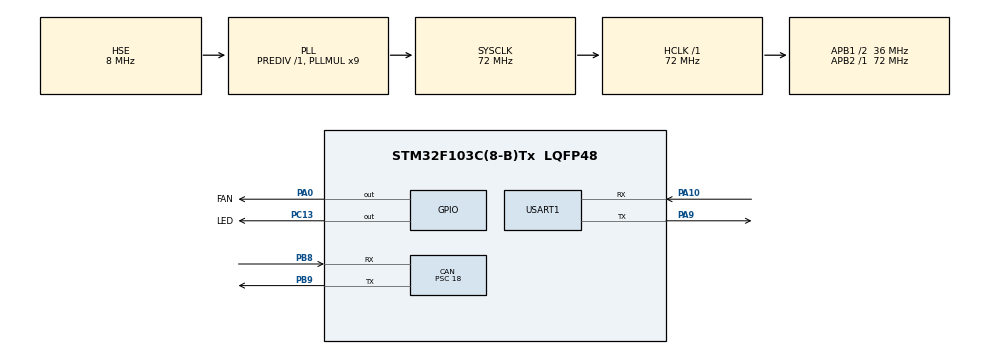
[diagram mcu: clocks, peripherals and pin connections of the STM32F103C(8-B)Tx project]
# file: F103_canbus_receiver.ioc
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CAN.BS1=CAN_BS1_2TQ
CAN.CalculateBaudRate=500000
CAN.CalculateTimeBit=2000
CAN.CalculateTimeQuantum=500.0
CAN.Prescaler=18
Mcu.Family=STM32F1
Mcu.Name=STM32F103C(8-B)Tx
Mcu.Package=LQFP48
NVIC.PriorityGroup=NVIC_PRIORITYGROUP_4
NVIC.USB_LP_CAN1_RX0_IRQn=true\:0\:0\:false\:false\:true\:true\:true\:true
PA0-WKUP.GPIO_Label=FAN
PA0-WKUP.Signal=GPIO_Output
PA10.Mode=Asynchronous
PA10.Signal=USART1_RX
PA13.Mode=Serial_Wire
PA13.Signal=SYS_JTMS-SWDIO
PA14.Mode=Serial_Wire
PA14.Signal=SYS_JTCK-SWCLK
PA9.Mode=Asynchronous
PA9.Signal=USART1_TX
PB8.Mode=CAN_Activate
PB8.Signal=CAN_RX
PB9.Mode=CAN_Activate
PB9.Signal=CAN_TX
PC13-TAMPER-RTC.GPIO_Label=LED
PC13-TAMPER-RTC.Signal=GPIO_Output
PD0-OSC_IN.Mode=HSE-External-Oscillator
PD0-OSC_IN.Signal=RCC_OSC_IN
PD1-OSC_OUT.Mode=HSE-External-Oscillator
PD1-OSC_OUT.Signal=RCC_OSC_OUT
ProjectManager.HeapSize=0x200
ProjectManager.StackSize=0x400
ProjectManager.TargetToolchain=STM32CubeIDE
RCC.AHBFreq_Value=72000000
RCC.APB1CLKDivider=RCC_HCLK_DIV2
RCC.APB1Freq_Value=36000000
RCC.APB1TimFreq_Value=72000000
RCC.APB2Freq_Value=72000000
RCC.APB2TimFreq_Value=72000000
RCC.HCLKFreq_Value=72000000
RCC.PLLMUL=RCC_PLL_MUL9
RCC.PLLSourceVirtual=RCC_PLLSOURCE_HSE
RCC.SYSCLKFreq_VALUE=72000000
RCC.SYSCLKSource=RCC_SYSCLKSOURCE_PLLCLK
RCC.USBFreq_Value=72000000
USART1.VirtualMode=VM_ASYNC
board=custom

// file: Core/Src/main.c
/* USER CODE BEGIN Header */
/**
  ******************************************************************************
  * @file           : main.c
  * @brief          : Main program body
  ******************************************************************************
  * @attention
  *
  * Copyright (c) 2024 STMicroelectronics.
  * All rights reserved.
  *
  * This software is licensed under terms that can be found in the LICENSE file
  * in the root directory of this software component.
  * If no LICENSE file comes with this software, it is provided AS-IS.
  *
  ******************************************************************************
  */
/* USER CODE END Header */
#include "main.h"

CAN_HandleTypeDef hcan;

UART_HandleTypeDef huart1;

void SystemClock_Config(void);
static void MX_GPIO_Init(void);
static void MX_CAN_Init(void);
static void MX_USART1_UART_Init(void);

/* USER CODE BEGIN 0 */
CAN_RxHeaderTypeDef reciver_struct;
uint8_t Received_Data[8];
uint32_t Trasmitter_info[5];

void HAL_CAN_RxFifo0MsgPendingCallback(CAN_HandleTypeDef *hcan){
	HAL_CAN_GetRxMessage(hcan, CAN_RX_FIFO0, &reciver_struct, Received_Data);
}
/* USER CODE END 0 */

int main(void)
{

  /* MCU Configuration--------------------------------------------------------*/

  /* Reset of all peripherals, Initializes the Flash interface and the Systick. */
  HAL_Init();

  /* Configure the system clock */
  SystemClock_Config();

  /* Initialize all configured peripherals */
  MX_GPIO_Init();
  MX_CAN_Init();
  MX_USART1_UART_Init();
  /* USER CODE BEGIN 2 */
  HAL_CAN_Start(&hcan);
  HAL_UART_Transmit(&huart1, "UART STARTED \r\n", 12, 1000);
  HAL_CAN_ActivateNotification(&hcan, CAN_IT_RX_FIFO0_MSG_PENDING);
  /* USER CODE END 2 */

  /* Infinite loop */
  /* USER CODE BEGIN WHILE */
  while (1)
  {
	  if(Received_Data[2] == 0){
	  	HAL_UART_Transmit(&huart1, "RESET\r\n",strlen("RESET\r\n"), 1000);
	  	HAL_GPIO_WritePin(LED_GPIO_Port,LED_Pin, 0);
	  	HAL_GPIO_WritePin(FAN_GPIO_Port,FAN_Pin, 0);
	  	}
	  else if(Received_Data[2] == 1){
	  	HAL_UART_Transmit(&huart1, "SET\r\n",strlen("SET\r\n"), 1000);
	  	HAL_GPIO_WritePin(LED_GPIO_Port,LED_Pin, 1);
	  	HAL_GPIO_WritePin(FAN_GPIO_Port,FAN_Pin, 1);
	  	}
	  else {
	  	HAL_UART_Transmit(&huart1, "ERROR \r\n", 5, 1000);
	  	}
	  Trasmitter_info[0] = reciver_struct.StdId;
	  Trasmitter_info[1] = reciver_struct.ExtId;
	  Trasmitter_info[2] = reciver_struct.IDE;
	  Trasmitter_info[3] = reciver_struct.RTR;
	  Trasmitter_info[4] = reciver_struct.DLC;

	  HAL_Delay(100);
    /* USER CODE END WHILE */

  }
}

void SystemClock_Config(void)
{
  RCC_OscInitTypeDef RCC_OscInitStruct = {0};
  RCC_ClkInitTypeDef RCC_ClkInitStruct = {0};

  /** Initializes the RCC Oscillators according to the specified parameters
  * in the RCC_OscInitTypeDef structure.
  */
  RCC_OscInitStruct.OscillatorType = RCC_OSCILLATORTYPE_HSE;
  RCC_OscInitStruct.HSEState = RCC_HSE_ON;
  RCC_OscInitStruct.HSEPredivValue = RCC_HSE_PREDIV_DIV1;
  RCC_OscInitStruct.HSIState = RCC_HSI_ON;
  RCC_OscInitStruct.PLL.PLLState = RCC_PLL_ON;
  RCC_OscInitStruct.PLL.PLLSource = RCC_PLLSOURCE_HSE;
  RCC_OscInitStruct.PLL.PLLMUL = RCC_PLL_MUL9;
  if (HAL_RCC_OscConfig(&RCC_OscInitStruct) != HAL_OK)
  {
    Error_Handler();
  }

  /** Initializes the CPU, AHB and APB buses clocks
  */
  RCC_ClkInitStruct.ClockType = RCC_CLOCKTYPE_HCLK|RCC_CLOCKTYPE_SYSCLK
                              |RCC_CLOCKTYPE_PCLK1|RCC_CLOCKTYPE_PCLK2;
  RCC_ClkInitStruct.SYSCLKSource = RCC_SYSCLKSOURCE_PLLCLK;
  RCC_ClkInitStruct.AHBCLKDivider = RCC_SYSCLK_DIV1;
  RCC_ClkInitStruct.APB1CLKDivider = RCC_HCLK_DIV2;
  RCC_ClkInitStruct.APB2CLKDivider = RCC_HCLK_DIV1;

  if (HAL_RCC_ClockConfig(&RCC_ClkInitStruct, FLASH_LATENCY_2) != HAL_OK)
  {
    Error_Handler();
  }
}

static void MX_CAN_Init(void)
{

  hcan.Instance = CAN1;
  hcan.Init.Prescaler = 18;
  hcan.Init.Mode = CAN_MODE_NORMAL;
  hcan.Init.SyncJumpWidth = CAN_SJW_1TQ;
  hcan.Init.TimeSeg1 = CAN_BS1_2TQ;
  hcan.Init.TimeSeg2 = CAN_BS2_1TQ;
  hcan.Init.TimeTriggeredMode = DISABLE;
  hcan.Init.AutoBusOff = DISABLE;
  hcan.Init.AutoWakeUp = DISABLE;
  hcan.Init.AutoRetransmission = DISABLE;
  hcan.Init.ReceiveFifoLocked = DISABLE;
  hcan.Init.TransmitFifoPriority = DISABLE;
  if (HAL_CAN_Init(&hcan) != HAL_OK)
  {
    Error_Handler();
  }
  /* USER CODE BEGIN CAN_Init 2 */
  CAN_FilterTypeDef CAN_Filter;
  CAN_Filter.FilterActivation = CAN_FILTER_ENABLE;
  CAN_Filter.FilterBank = 13;
  CAN_Filter.FilterFIFOAssignment = CAN_FILTER_FIFO0;
  CAN_Filter.FilterIdHigh=0x1<<5;//Message id=1 from sender
  CAN_Filter.FilterIdLow=0;
  CAN_Filter.FilterMaskIdHigh = 0xFFFF<<5;// Only one id accepted
  CAN_Filter.FilterMaskIdLow = 0xFFFF;
  CAN_Filter.FilterMode = CAN_FILTERMODE_IDMASK;
  CAN_Filter.FilterScale = CAN_FILTERSCALE_32BIT;
  CAN_Filter.SlaveStartFilterBank = 0;

  HAL_CAN_ConfigFilter(&hcan, &CAN_Filter);
  /* USER CODE END CAN_Init 2 */

}

static void MX_USART1_UART_Init(void)
{

  huart1.Instance = USART1;
  huart1.Init.BaudRate = 115200;
  huart1.Init.WordLength = UART_WORDLENGTH_8B;
  huart1.Init.StopBits = UART_STOPBITS_1;
  huart1.Init.Parity = UART_PARITY_NONE;
  huart1.Init.Mode = UART_MODE_TX_RX;
  huart1.Init.HwFlowCtl = UART_HWCONTROL_NONE;
  huart1.Init.OverSampling = UART_OVERSAMPLING_16;
  if (HAL_UART_Init(&huart1) != HAL_OK)
  {
    Error_Handler();
  }

}

static void MX_GPIO_Init(void)
{
  GPIO_InitTypeDef GPIO_InitStruct = {0};

  /* GPIO Ports Clock Enable */
  __HAL_RCC_GPIOC_CLK_ENABLE();
  __HAL_RCC_GPIOD_CLK_ENABLE();
  __HAL_RCC_GPIOA_CLK_ENABLE();
  __HAL_RCC_GPIOB_CLK_ENABLE();

  /*Configure GPIO pin Output Level */
  HAL_GPIO_WritePin(LED_GPIO_Port, LED_Pin, GPIO_PIN_RESET);

  /*Configure GPIO pin Output Level */
  HAL_GPIO_WritePin(FAN_GPIO_Port, FAN_Pin, GPIO_PIN_RESET);

  /*Configure GPIO pin : LED_Pin */
  GPIO_InitStruct.Pin = LED_Pin;
  GPIO_InitStruct.Mode = GPIO_MODE_OUTPUT_PP;
  GPIO_InitStruct.Pull = GPIO_NOPULL;
  GPIO_InitStruct.Speed = GPIO_SPEED_FREQ_LOW;
  HAL_GPIO_Init(LED_GPIO_Port, &GPIO_InitStruct);

  /*Configure GPIO pin : FAN_Pin */
  GPIO_InitStruct.Pin = FAN_Pin;
  GPIO_InitStruct.Mode = GPIO_MODE_OUTPUT_PP;
  GPIO_InitStruct.Pull = GPIO_NOPULL;
  GPIO_InitStruct.Speed = GPIO_SPEED_FREQ_LOW;
  HAL_GPIO_Init(FAN_GPIO_Port, &GPIO_InitStruct);

}

void Error_Handler(void)
{
  __disable_irq();
  while (1)
  {
  }
}
